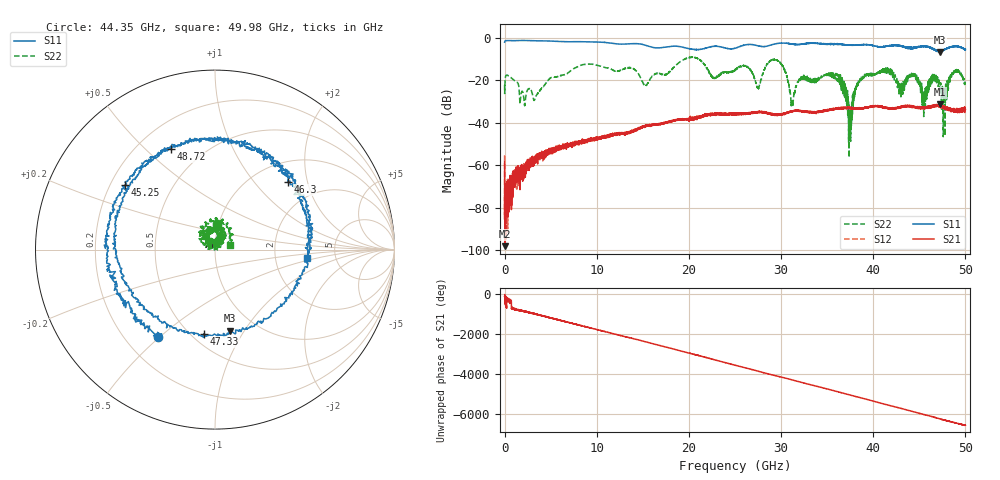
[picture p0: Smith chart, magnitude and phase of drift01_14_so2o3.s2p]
!Created with skrf (http://scikit-rf.org).
# Hz S RI R 50.0
!freq ReS11 ImS11 ReS21 ImS21 ReS12 ImS12 ReS22 ImS22
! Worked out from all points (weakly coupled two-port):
!   10001 points, 300 kHz to 50 GHz, reference 50 ohm
!   highest |S21| = -31.41 dB at 47.25 GHz (marker M1); lowest = -98.1 dB at 25.3 MHz (marker M2)
!   lowest |S11| = -6.7 dB at 47.21 GHz (marker M3), VSWR 2.70, Z = 37.8 - j43.4 ohm
!   |S11| at or under -10 dB: nowhere
!   |S22| runs from -56.5 to -9.2 dB; largest |S21 - S12| = 0.0038
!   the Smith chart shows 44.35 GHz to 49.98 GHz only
!   S11 on the Smith chart (normalised r, x): 44.35 GHz: 0.33, -0.49; 45.25 GHz: 0.26, +0.30; 46.3 GHz: 1.40, +1.52; 47.33 GHz: 0.58, -0.70; 48.72 GHz: 0.34, +0.60; 49.98 GHz: 3.07, -0.37
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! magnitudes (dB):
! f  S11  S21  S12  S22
! 300 kHz  -2.1  -58.4  -55.4  -22.3
! 25.3 MHz  -1.9  -98.1  -75.3  -23.1
! 3.29 GHz  -1.5  -58.9  -58.3  -28.8
! 8.335 GHz  -1.9  -48.7  -48.9  -12.9
! 16.67 GHz  -4.8  -40.7  -40.7  -16.7
! 25 GHz  -5.0  -36.0  -35.9  -15.4
! 29.59 GHz  -2.8  -35.8  -36.2  -10.6
! 31.23 GHz  -3.1  -34.7  -34.6  -30.7
! 33.34 GHz  -2.6  -34.9  -35.2  -19.8
! 36.19 GHz  -3.3  -33.5  -33.5  -19.8
! 37.5 GHz  -3.5  -33.1  -33.1  -46.3
! 38.64 GHz  -3.4  -33.6  -33.2  -19.9
! 41.67 GHz  -3.9  -33.2  -33.3  -15.7
! 44.35 GHz  -4.7  -32.5  -32.5  -16.9
! 45.25 GHz  -4.2  -33.0  -32.9  -24.0
! 46.3 GHz  -5.1  -33.0  -32.0  -18.7
! 47.21 GHz  -6.7  -32.5  -32.5  -24.9
! 47.25 GHz  -6.4  -31.4  -32.0  -25.7
! 47.33 GHz  -6.5  -32.1  -32.1  -22.8
! 48.72 GHz  -4.3  -35.0  -34.3  -15.8
! 49.98 GHz  -5.8  -33.2  -33.2  -21.2
! 50 GHz  -5.6  -33.9  -33.4  -22.2
